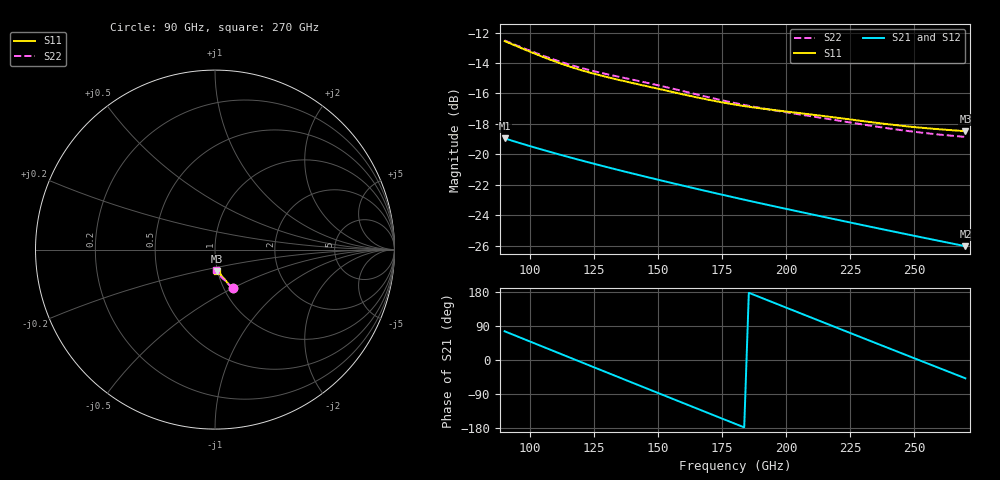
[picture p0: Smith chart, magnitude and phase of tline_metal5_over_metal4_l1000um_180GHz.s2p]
#  GHZ S DB R 50
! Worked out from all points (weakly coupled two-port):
!   101 points, 90 GHz to 270 GHz, reference 50 ohm
!   highest |S21| = -18.95 dB at 90 GHz (marker M1); lowest = -26.0 dB at 270 GHz (marker M2)
!   lowest |S11| = -18.5 dB at 270 GHz (marker M3), VSWR 1.27, Z = 49.5 - j11.9 ohm
!   |S11| at or under -10 dB: start of sweep to end of sweep
!   |S22| runs from -18.9 to -12.5 dB; largest |S21 - S12| = 8.8e-14
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90  -12.56 -65.2  -18.95 75.8  -18.95 75.8  -12.52 -65.0
99  -13.20 -67.3  -19.41 51.3  -19.41 51.3  -13.13 -67.1
106.2  -13.68 -68.6  -19.76 31.7  -19.76 31.7  -13.59 -68.3
113.4  -14.12 -69.5  -20.10 12.1  -20.10 12.1  -14.00 -69.3
120.6  -14.50 -70.3  -20.43 -7.5  -20.43 -7.5  -14.36 -70.2
127.8  -14.83 -71.0  -20.74 -27.0  -20.74 -27.0  -14.65 -71.1
136.8  -15.19 -72.1  -21.12 -51.5  -21.12 -51.5  -14.98 -72.4
144  -15.47 -73.0  -21.42 -71.0  -21.42 -71.0  -15.24 -73.7
151.2  -15.74 -74.0  -21.71 -90.4  -21.71 -90.4  -15.51 -75.0
158.4  -16.01 -74.9  -22.00 -109.9  -22.00 -109.9  -15.79 -76.3
167.4  -16.34 -75.8  -22.36 -134.2  -22.36 -134.2  -16.16 -77.6
180  -16.73 -76.8  -22.84 -168.1  -22.84 -168.1  -16.63 -79.1
187.2  -16.92 -77.4  -23.11 172.5  -23.11 172.5  -16.87 -79.8
194.4  -17.07 -78.0  -23.38 153.2  -23.38 153.2  -17.08 -80.5
203.4  -17.25 -79.0  -23.70 129.1  -23.70 129.1  -17.33 -81.4
210.6  -17.40 -79.8  -23.96 109.8  -23.96 109.8  -17.52 -82.1
217.8  -17.55 -80.7  -24.22 90.5  -24.22 90.5  -17.71 -82.9
225  -17.71 -81.5  -24.47 71.3  -24.47 71.3  -17.91 -83.6
234  -17.90 -82.5  -24.79 47.3  -24.79 47.3  -18.14 -84.3
241.2  -18.05 -83.1  -25.04 28.1  -25.04 28.1  -18.32 -84.8
255.6  -18.29 -84.3  -25.54 -10.1  -25.54 -10.1  -18.63 -85.5
270  -18.48 -85.5  -26.03 -48.3  -26.03 -48.3  -18.85 -86.2
